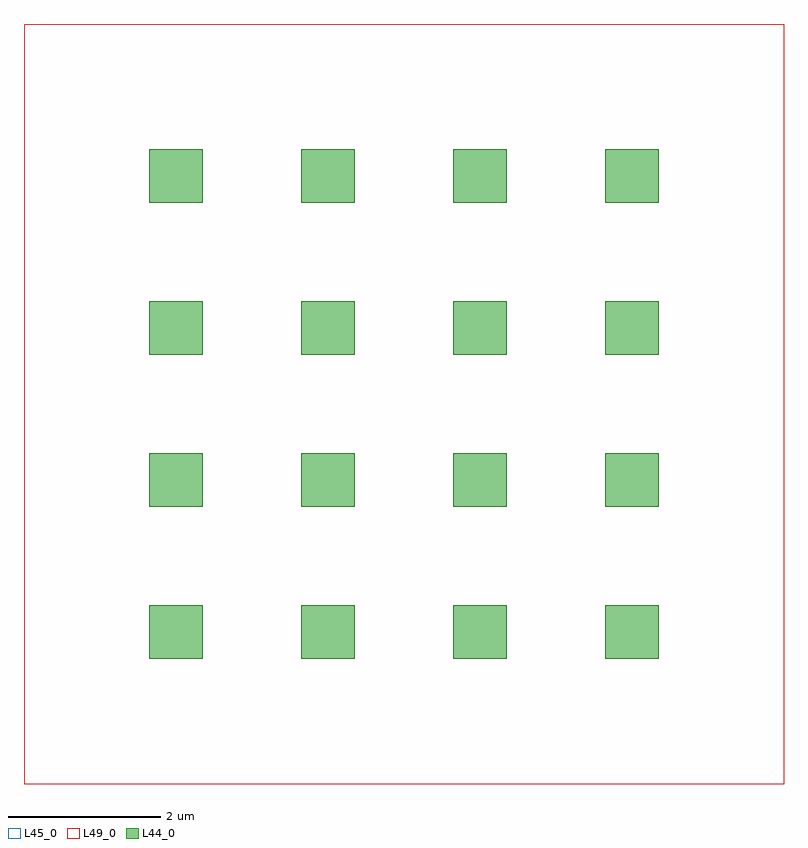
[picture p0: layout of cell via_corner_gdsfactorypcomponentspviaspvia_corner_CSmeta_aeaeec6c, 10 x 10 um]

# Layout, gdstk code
import gdstk
lib = gdstk.Library(unit=1e-6, precision=1e-09)
def R(c, l, rs):  # rectangles x0, y0, x1, y1
    for r in rs: c.add(gdstk.rectangle(r[:2], r[2:], *l))
L44_0 = (44, 0)
L45_0 = (45, 0)
L49_0 = (49, 0)

compass_gdsfactorypcompo = lib.new_cell('compass_gdsfactorypcomponentspshapespcompass_S10_10_LM2_75e6e113')
R(compass_gdsfactorypcompo, L45_0, [(-5,-5,5,5)])

c_compass_gdsfactorypcompo = lib.new_cell('compass_gdsfactorypcomponentspshapespcompass_S10_10_LM3_bb4c80ed')
R(c_compass_gdsfactorypcompo, L49_0, [(-5,-5,5,5)])

via_gdsfactorypcomponent = lib.new_cell('via_gdsfactorypcomponentspviaspvia_S0p7_0p7_E1_LVIA1_BL_0068d91e')
R(via_gdsfactorypcomponent, L44_0, [(-0.35,-0.35,0.35,0.35)])

via_corner_gdsfactorypco = lib.new_cell('via_corner_gdsfactorypcomponentspviaspvia_corner_CSmeta_aeaeec6c')
via_corner_gdsfactorypco.add(gdstk.Reference(compass_gdsfactorypcompo, (0,0)))
via_corner_gdsfactorypco.add(gdstk.Reference(c_compass_gdsfactorypcompo, (0,0)))
r = gdstk.Reference(via_gdsfactorypcomponent, (-3,-3)); r.repetition = gdstk.Repetition(4, 4, v1=(2,0), v2=(0,2)); via_corner_gdsfactorypco.add(r)

lib.write_gds('via_corner_gdsfactorypcomponentspviaspvia_corner_CSmeta_aeaeec6c.gds')
